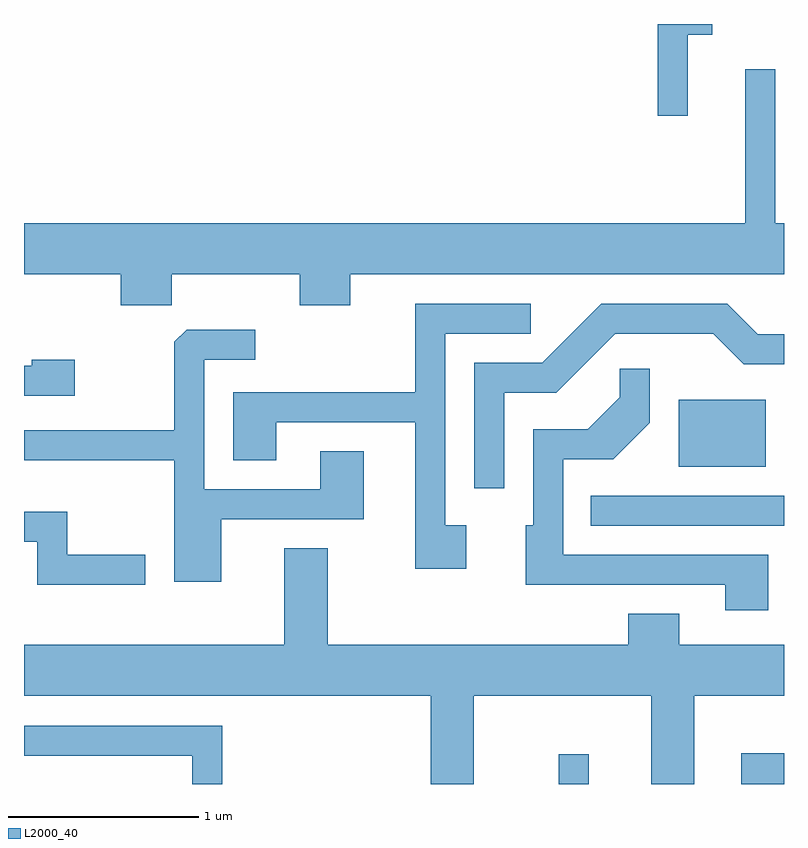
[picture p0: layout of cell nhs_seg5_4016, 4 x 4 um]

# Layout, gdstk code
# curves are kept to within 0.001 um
import gdstk
lib = gdstk.Library(unit=1e-6, precision=1e-09)
def R(c, l, rs):  # rectangles x0, y0, x1, y1
    for r in rs: c.add(gdstk.rectangle(r[:2], r[2:], *l))
def P(c, l, *ps):  # polygons
    for p in ps: c.add(gdstk.Polygon(p, *l))
L2000_40 = (2000, 40)

nhs_seg5_4016 = lib.new_cell('nhs_seg5_4016')
R(nhs_seg5_4016, L2000_40, [(306.426,1494.072,306.584,1494.228), (307.386,1494.072,307.611,1494.234), (306.593,1495.431,307.611,1495.589), (307.056,1495.741,307.514,1496.094)])
P(nhs_seg5_4016, L2000_40, [(307.104,1498.016),(307.234,1498.016),(307.234,1498.072),(306.946,1498.072),(306.946,1497.588),(307.104,1497.588)],
  [(304.389,1496.756),(305.061,1496.756),(305.061,1496.591),(305.329,1496.591),(305.329,1496.756),(307.611,1496.756),(307.611,1497.024),(307.564,1497.024),(307.564,1497.833),(307.406,1497.833),(307.406,1497.024),(303.611,1497.024),(303.611,1496.756),(304.121,1496.756),(304.121,1496.591),(304.389,1496.591)],
  [(306.139,1496.131),(306.412,1496.131),(306.722,1496.441),(307.239,1496.441),(307.399,1496.281),(307.611,1496.281),(307.611,1496.439),(307.472,1496.439),(307.312,1496.599),(306.649,1496.599),(306.339,1496.289),(305.981,1496.289),(305.981,1495.628),(306.139,1495.628)],
  [(305.939,1495.434),(305.829,1495.434),(305.829,1496.441),(306.278,1496.441),(306.278,1496.599),(305.671,1496.599),(305.671,1496.134),(304.711,1496.134),(304.711,1495.776),(304.939,1495.776),(304.939,1495.976),(305.671,1495.976),(305.671,1495.206),(305.939,1495.206)],
  [(304.649,1495.466),(305.399,1495.466),(305.399,1495.824),(305.171,1495.824),(305.171,1495.624),(304.559,1495.624),(304.559,1496.306),(304.828,1496.306),(304.828,1496.464),(304.467,1496.464),(304.401,1496.399),(304.401,1495.934),(303.611,1495.934),(303.611,1495.776),(304.401,1495.776),(304.401,1495.136),(304.649,1495.136)],
  [(303.879,1496.304),(303.651,1496.304),(303.651,1496.274),(303.611,1496.274),(303.611,1496.116),(303.879,1496.116)],
  [(307.529,1495.279),(306.449,1495.279),(306.449,1495.781),(306.712,1495.781),(306.904,1495.974),(306.904,1496.258),(306.746,1496.258),(306.746,1496.107),(306.579,1495.939),(306.291,1495.939),(306.291,1495.434),(306.251,1495.434),(306.251,1495.121),(307.301,1495.121),(307.301,1494.986),(307.529,1494.986)],
  [(304.248,1495.279),(303.839,1495.279),(303.839,1495.504),(303.611,1495.504),(303.611,1495.346),(303.681,1495.346),(303.681,1495.121),(304.248,1495.121)],
  [(305.979,1494.536),(306.911,1494.536),(306.911,1494.072),(307.139,1494.072),(307.139,1494.536),(307.611,1494.536),(307.611,1494.804),(307.059,1494.804),(307.059,1494.969),(306.791,1494.969),(306.791,1494.804),(305.209,1494.804),(305.209,1495.314),(304.981,1495.314),(304.981,1494.804),(303.611,1494.804),(303.611,1494.536),(305.751,1494.536),(305.751,1494.072),(305.979,1494.072)],
  [(304.654,1494.379),(303.611,1494.379),(303.611,1494.221),(304.496,1494.221),(304.496,1494.072),(304.654,1494.072)])

lib.write_gds('nhs_seg5_4016.gds')
